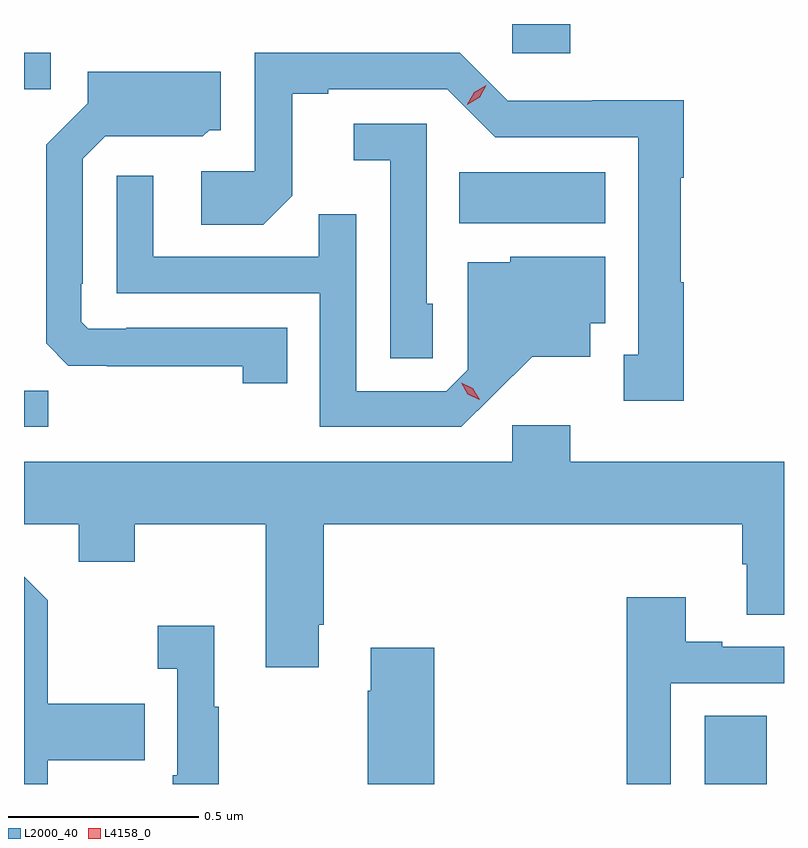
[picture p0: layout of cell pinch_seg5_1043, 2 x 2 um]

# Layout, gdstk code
import gdstk
lib = gdstk.Library(unit=1e-6, precision=1e-09)
def R(c, l, rs):  # rectangles x0, y0, x1, y1
    for r in rs: c.add(gdstk.rectangle(r[:2], r[2:], *l))
def P(c, l, *ps):  # polygons
    for p in ps: c.add(gdstk.Polygon(p, *l))
L2000_40 = (2000, 40)
L4158_0 = (4158, 0)

pinch_seg5_1043 = lib.new_cell('pinch_seg5_1043')
R(pinch_seg5_1043, L2000_40, [(735.86,841.424,736.024,841.604), (734.069,842.364,734.133,842.459), (735.214,842.9,735.598,843.034), (734.069,843.252,734.14,843.348), (735.354,843.347,735.506,843.424)])
P(pinch_seg5_1043, L2000_40, [(735.805,842.745),(735.797,842.745),(735.797,843.019),(735.805,843.019),(735.805,843.224),(735.564,843.224),(735.564,843.222),(735.342,843.222),(735.216,843.348),(734.676,843.348),(734.676,843.036),(734.535,843.036),(734.535,842.896),(734.699,842.896),(734.775,842.972),(734.775,843.24),(734.869,843.24),(734.869,843.252),(735.183,843.252),(735.309,843.126),(735.686,843.126),(735.686,842.553),(735.647,842.553),(735.647,842.433),(735.805,842.433)],
  [(734.762,842.625),(734.338,842.625),(734.338,842.622),(734.238,842.622),(734.22,842.64),(734.22,842.74),(734.223,842.74),(734.223,843.069),(734.283,843.129),(734.406,843.129),(734.406,843.128),(734.54,843.128),(734.556,843.144),(734.587,843.144),(734.587,843.298),(734.237,843.298),(734.237,843.216),(734.127,843.106),(734.127,842.584),(734.186,842.525),(734.287,842.525),(734.287,842.524),(734.644,842.524),(734.644,842.478),(734.762,842.478)],
  [(735.144,842.688),(735.129,842.688),(735.129,843.162),(734.937,843.162),(734.937,843.065),(735.033,843.065),(735.033,842.545),(735.144,842.545)],
  [(735.304,842.447),(735.407,842.549),(735.559,842.549),(735.559,842.636),(735.598,842.636),(735.598,842.812),(735.348,842.812),(735.348,842.797),(735.237,842.797),(735.237,842.514),(735.18,842.457),(734.943,842.457),(734.943,842.924),(734.845,842.924),(734.845,842.811),(734.409,842.811),(734.409,843.025),(734.313,843.025),(734.313,842.715),(734.847,842.715),(734.847,842.364),(735.22,842.364)],
  [(735.959,842.002),(735.971,842.002),(735.971,841.87),(736.069,841.87),(736.069,842.272),(735.506,842.272),(735.506,842.368),(735.354,842.368),(735.354,842.272),(734.069,842.272),(734.069,842.108),(734.213,842.108),(734.213,842.009),(734.361,842.009),(734.361,842.108),(734.705,842.108),(734.705,841.731),(734.845,841.731),(734.845,841.843),(734.858,841.843),(734.858,842.108),(735.959,842.108)],
  [(734.131,841.487),(734.387,841.487),(734.387,841.635),(734.131,841.635),(734.131,841.907),(734.069,841.969),(734.069,841.424),(734.131,841.424)],
  [(735.771,841.689),(736.069,841.689),(736.069,841.785),(735.907,841.785),(735.907,841.798),(735.811,841.798),(735.811,841.915),(735.655,841.915),(735.655,841.424),(735.771,841.424)],
  [(734.581,841.627),(734.569,841.627),(734.569,841.84),(734.421,841.84),(734.421,841.727),(734.472,841.727),(734.472,841.447),(734.46,841.447),(734.46,841.424),(734.581,841.424)],
  [(735.149,841.783),(734.981,841.783),(734.981,841.67),(734.974,841.67),(734.974,841.424),(735.149,841.424)])
P(pinch_seg5_1043, L4158_0, [(735.236,843.212),(735.236,843.213),(735.254,843.245),(735.286,843.263),(735.286,843.263),(735.286,843.263),(735.268,843.231),(735.236,843.212)],
  [(735.267,842.435),(735.237,842.45),(735.219,842.48),(735.219,842.48),(735.22,842.48),(735.25,842.465),(735.268,842.435),(735.268,842.435)])

lib.write_gds('pinch_seg5_1043.gds')
